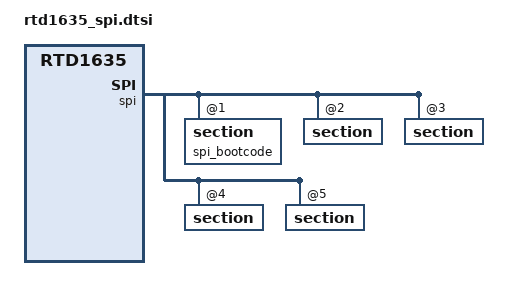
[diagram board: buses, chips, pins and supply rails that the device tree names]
// SPDX-License-Identifier: GPL-2.0+

/ {
	#address-cells = <1>;
	#size-cells = <1>;

	binman: binman {
	spi {
		filename = "rtd1635_spi_bind.bin";
		allow-repack;
		spi_bootcode: section@1 {
			size = <0x40000>; // 236k, aligned to 256k
			align-size = <0x10000>;
			pad-byte = <0xff>;
			spi_scs_cert: blob@1 {
				filename = "scs_certificate/SCS_Certificate.bin";
				size = <0x400>;
			};
			spi_scs_param: blob@2 {
				filename = "scs_param/0000/SCS_Params_Area.dev.bin"; // spi?
				size = <0x200>;
				align-size = <0x200>;
			};
			spi_extrom: blob@3 {
				filename = "extrom_dice_lib/Extrom_Dice_Lib_Area.bin"; // spi?
				size = <0x14200>;
				align-size = <0x200>;
			};
			spi_auxcode: blob@4 {
				filename = "auxcode/Auxcode_Area.aiot.bin";
				size = <0x26800>;
				align-size = <0x200>;
			};
		};
		section@2 {
			uboot_env: fill@0 {
				size = <0x20000>;
				fill-byte = [ff];
			};
		};
		section@3 {
			size = <0x75000>; //468k
			pad-byte = <0xff>;
			align-size = <0x1000>;
			fit {
				description = "TrustFW fitImage for Prince";
				fit,external-offset = <0x1000>;
				fit,align = <0x1000>;

				images {
					//size = <0x72C00>; //459k
					atf_cert {
						description = "atf certificate image";
						type = "firmware";
						arch = "arm64";
						compression = "none";

						blob {
							size = <0x400>;
							filename = "atf_certificate/ATF_Certificate.bin";
						};
					};
					rtk_param {
						description = "rtk param image";
						type = "firmware";
						arch = "arm64";
						compression = "none";

						blob {
							size = <0x800>;
							filename = "rtk_param/RTK_Params_Area.bin";
						};
					};
					dram_init {
						description = "dram init image";
						type = "standalone";
						arch = "arm64";
						compression = "none";

						blob {
							size = <0x40000>;
							filename = "dram_init/DRAM_Init_Area.bin";
						};
					};
					bl31 {
						description = "bl31 image";
						type = "standalone";
						arch = "arm64";
						compression = "none";

						blob {
							size = <0x32000>;
							filename = "bl31/BL31_Area.bin";
						};
					};
				};
			};
		};
		section@4 {
			pad-byte = <0xff>;
			blob@1 {
				filename = "u-boot-spl.bin_pad";
				size = <0x2B000>; // 172k
				align-size = <0x200>;
			};
		};
		section@5 {
			align = <0x100000>; // 1MB-aligned offset
			pad-byte = <0xff>;
			blob@1 {
				filename = "u-boot.img";
				size = <0xA0000>;
				align-size = <0x200>;
			};
		};
		fdtmap {
		};
		image-header {
			location = "end";
		};
	}; // SPI image
	};
};
